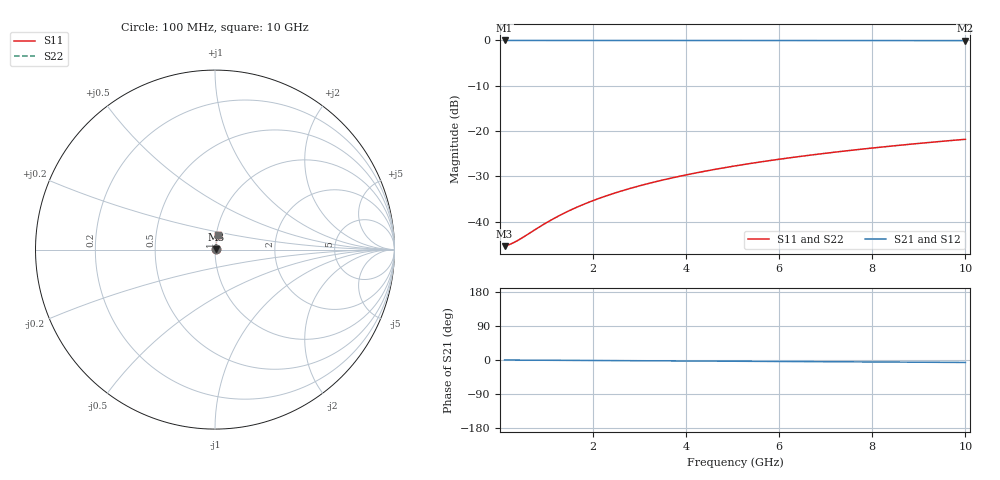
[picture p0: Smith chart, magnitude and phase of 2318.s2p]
# Hz S RI R 50.00
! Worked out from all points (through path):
!   100 points, 100 MHz to 10 GHz, reference 50 ohm
!   highest |S21| = -0.05 dB at 100 MHz (marker M1); lowest = -0.1 dB at 10 GHz (marker M2)
!   lowest |S11| = -45.4 dB at 100 MHz (marker M3), VSWR 1.01, Z = 50.5 + j0.0813 ohm
!   |S11| at or under -10 dB: start of sweep to end of sweep
!   |S22| runs from -45.4 to -21.8 dB; largest |S21 - S12| = 0
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1e8  0.00534 0.000804  0.9947 -0.00112  0.9947 -0.00112  0.00534 0.000804
2e8  0.00538 0.00161  0.9946 -0.00224  0.9946 -0.00224  0.00538 0.00161
3e8  0.00541 0.00241  0.9946 -0.00337  0.9946 -0.00337  0.00541 0.00241
4e8  0.00543 0.00322  0.9946 -0.00449  0.9946 -0.00449  0.00543 0.00322
9e8  0.00556 0.00724  0.9944 -0.0101  0.9944 -0.0101  0.00556 0.00724
1.2e9  0.00565 0.00965  0.9943 -0.0135  0.9943 -0.0135  0.00565 0.00965
1.5e9  0.00575 0.0121  0.9942 -0.0168  0.9942 -0.0168  0.00575 0.0121
1.8e9  0.00586 0.0145  0.9941 -0.0202  0.9941 -0.0202  0.00586 0.0145
2.1e9  0.00599 0.0169  0.994 -0.0235  0.994 -0.0235  0.00599 0.0169
2.5e9  0.00618 0.0201  0.9938 -0.028  0.9938 -0.028  0.00618 0.0201
2.9e9  0.0064 0.0233  0.9935 -0.0325  0.9935 -0.0325  0.0064 0.0233
3.4e9  0.00671 0.0273  0.9932 -0.0381  0.9932 -0.0381  0.00671 0.0273
3.8e9  0.00699 0.0305  0.9929 -0.0426  0.9929 -0.0426  0.00699 0.0305
4.2e9  0.0073 0.0337  0.9926 -0.0471  0.9926 -0.0471  0.0073 0.0337
4.6e9  0.00763 0.0369  0.9922 -0.0515  0.9922 -0.0515  0.00763 0.0369
5.1e9  0.00809 0.0409  0.9918 -0.0571  0.9918 -0.0571  0.00809 0.0409
5.9e9  0.00892 0.0473  0.9909 -0.0661  0.9909 -0.0661  0.00892 0.0473
6.7e9  0.00987 0.0537  0.9899 -0.075  0.9899 -0.075  0.00987 0.0537
7.5e9  0.0109 0.06  0.9888 -0.0839  0.9888 -0.0839  0.0109 0.06
8.4e9  0.0123 0.0671  0.9874 -0.0939  0.9874 -0.0939  0.0123 0.0671
9.2e9  0.0136 0.0734  0.986 -0.1028  0.986 -0.1028  0.0136 0.0734
1e10  0.015 0.0797  0.9845 -0.1116  0.9845 -0.1116  0.015 0.0797
